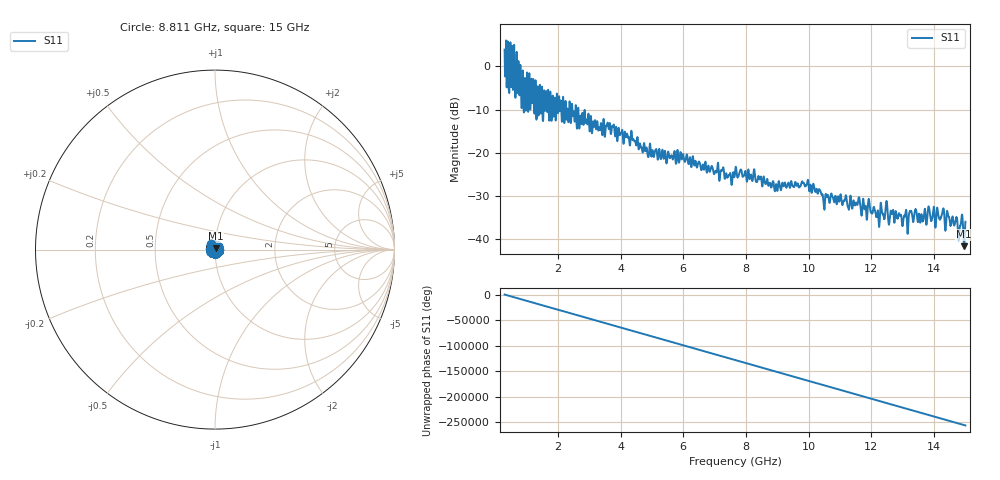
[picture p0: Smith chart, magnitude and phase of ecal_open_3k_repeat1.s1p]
# GHZ S RI R 50.0
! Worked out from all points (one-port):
!   12801 points, 300 MHz to 15 GHz, reference 50 ohm
!   lowest |S11| = -41.7 dB at 14.96 GHz (marker M1), VSWR 1.02, Z = 50.5 + j0.651 ohm
!   |S11| at or under -10 dB: 2.461 GHz to 2.561 GHz (99.68 MHz wide, 3.97 % of centre); 2.579 GHz to 2.642 GHz (62.33 MHz wide, 2.39 % of centre); 2.652 GHz to end of sweep (the widest 3 of 24)
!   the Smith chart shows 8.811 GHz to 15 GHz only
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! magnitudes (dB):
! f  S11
! 300 MHz  3.9
! 386.1 MHz  0.2
! 542.3 MHz  4.7
! 744.4 MHz  0.7
! 907.5 MHz  -10.1
! 1.149 GHz  -2.9
! 1.316 GHz  -12.3
! 1.623 GHz  -5.8
! 1.862 GHz  -11.5
! 2.028 GHz  -7.7
! 2.138 GHz  -12.3
! 3.975 GHz  -16.0
! 4.843 GHz  -19.5
! 5.812 GHz  -19.4
! 7.494 GHz  -24.7
! 7.65 GHz  -24.6
! 8.956 GHz  -27.4
! 9.488 GHz  -27.7
! 9.926 GHz  -27.5
! 10.46 GHz  -30.7
! 11.32 GHz  -30.4
! 11.58 GHz  -31.4
! 12.2 GHz  -33.4
! 12.45 GHz  -33.3
! 13.16 GHz  -38.5
! 14.26 GHz  -34.0
! 14.96 GHz  -41.7
! 15 GHz  -36.0
